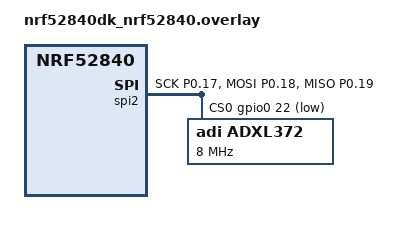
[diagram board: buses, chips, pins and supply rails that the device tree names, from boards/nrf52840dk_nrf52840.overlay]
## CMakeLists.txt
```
cmake_minimum_required(VERSION 3.20.0)

find_package(Zephyr REQUIRED HINTS $ENV{ZEPHYR_BASE})
project(tilt_motion)

target_sources(app PRIVATE src/main.c)
```

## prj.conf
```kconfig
# BLE broadcaster (beacon) - streams X/Y/Z as manufacturer advertising data
CONFIG_BT=y
CONFIG_BT_BROADCASTER=y
CONFIG_BT_PERIPHERAL=n
CONFIG_BT_CENTRAL=n
CONFIG_BT_DEVICE_NAME="tilt-sensor"

# ADXL372 accelerometer over SPI
CONFIG_SENSOR=y
CONFIG_SPI=y
CONFIG_GPIO=y
CONFIG_ADXL372=y

# integer-only prints, keep the image small
CONFIG_CBPRINTF_FP_SUPPORT=n
```

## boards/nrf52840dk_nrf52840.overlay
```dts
/*
 * The nRF52840 DK has no on-board accelerometer, so declare an ADXL372 on
 * SPI2 with chip-select on gpio0 pin 22 - matching how the Renode platform
 * wires the modelled sensor (adxl372: Sensors.ADXL372 @ spi2, gpio0 22 ->
 * adxl372@0).
 */

&pinctrl {
	spi2_default_alt: spi2_default_alt {
		group1 {
			psels = <NRF_PSEL(SPIM_SCK, 0, 17)>,
				<NRF_PSEL(SPIM_MOSI, 0, 18)>,
				<NRF_PSEL(SPIM_MISO, 0, 19)>;
		};
	};

	spi2_sleep_alt: spi2_sleep_alt {
		group1 {
			psels = <NRF_PSEL(SPIM_SCK, 0, 17)>,
				<NRF_PSEL(SPIM_MOSI, 0, 18)>,
				<NRF_PSEL(SPIM_MISO, 0, 19)>;
			low-power-enable;
		};
	};
};

&spi2 {
	/* Renode's NRF52840_SPI models the legacy (non-EasyDMA) SPI register
	 * interface, so use nordic,nrf-spi rather than nordic,nrf-spim. */
	compatible = "nordic,nrf-spi";
	status = "okay";
	pinctrl-0 = <&spi2_default_alt>;
	pinctrl-1 = <&spi2_sleep_alt>;
	pinctrl-names = "default", "sleep";
	cs-gpios = <&gpio0 22 GPIO_ACTIVE_LOW>;

	adxl372: adxl372@0 {
		compatible = "adi,adxl372";
		reg = <0>;
		spi-max-frequency = <8000000>;
	};
};
```

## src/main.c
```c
/*
 * Tilt & Tamper Sensor node.
 *
 * Reads a 3-axis ADXL372 accelerometer over SPI (the sensor is wired to this
 * board) and broadcasts the live X/Y/Z tilt as a connectionless BLE beacon
 * (manufacturer-specific advertising data). The Lighting Hub listens for it.
 *
 * Connectionless broadcast is used instead of a GATT connection because the
 * emulated radio models advertising/scanning far more robustly than it models
 * multiple simultaneous connections.
 *
 * SPDX-License-Identifier: Apache-2.0
 */

#include <zephyr/kernel.h>
#include <zephyr/device.h>
#include <zephyr/sys/printk.h>
#include <zephyr/sys/byteorder.h>
#include <zephyr/drivers/sensor.h>

#include <zephyr/bluetooth/bluetooth.h>

/* Beacon framing: [company id LE (2)][type][payload].  0xFFFF is the "no
 * company" test id; type 'T' marks a tilt reading from this sensor. */
#define TILTLAB_COMPANY_0  0xFF
#define TILTLAB_COMPANY_1  0xFF
#define BEACON_TYPE_TILT   'T'

/* payload = int16 X, Y, Z (little-endian), hundredths of m/s^2 */
static uint8_t mfg[9] = { TILTLAB_COMPANY_0, TILTLAB_COMPANY_1, BEACON_TYPE_TILT };

static struct bt_data ad[] = {
	BT_DATA(BT_DATA_MANUFACTURER_DATA, mfg, sizeof(mfg)),
};

/* m/s^2 sensor_value -> signed hundredths of m/s^2 (integer only, no libm). */
static int16_t sv_to_centi(const struct sensor_value *v)
{
	return (int16_t)(v->val1 * 100 + v->val2 / 10000);
}

static const struct device *const accel = DEVICE_DT_GET_ANY(adi_adxl372);

int main(void)
{
	int err;

	printk("Tilt sensor node starting\n");

	if (!device_is_ready(accel)) {
		printk("ADXL372 not ready\n");
		return 0;
	}

	err = bt_enable(NULL);
	if (err) {
		printk("Bluetooth init failed (err %d)\n", err);
		return 0;
	}
	printk("Bluetooth initialized\n");

	/* Non-connectable beacon; we refresh its payload every read. */
	err = bt_le_adv_start(BT_LE_ADV_NCONN, ad, ARRAY_SIZE(ad), NULL, 0);
	if (err) {
		printk("Advertising failed to start (err %d)\n", err);
		return 0;
	}
	printk("Broadcasting tilt beacon\n");

	while (1) {
		struct sensor_value a[3];
		int16_t x, y, z;

		if (sensor_sample_fetch(accel) < 0 ||
		    sensor_channel_get(accel, SENSOR_CHAN_ACCEL_XYZ, a) < 0) {
			printk("sensor read failed\n");
			k_sleep(K_MSEC(1000));
			continue;
		}

		x = sv_to_centi(&a[0]);
		y = sv_to_centi(&a[1]);
		z = sv_to_centi(&a[2]);

		sys_put_le16(x, &mfg[3]);
		sys_put_le16(y, &mfg[5]);
		sys_put_le16(z, &mfg[7]);

		printk("SPI read  X=%d Y=%d Z=%d (0.01 m/s^2) -> beacon\n", x, y, z);
		bt_le_adv_update_data(ad, ARRAY_SIZE(ad), NULL, 0);

		k_sleep(K_MSEC(1000));
	}

	return 0;
}
```
